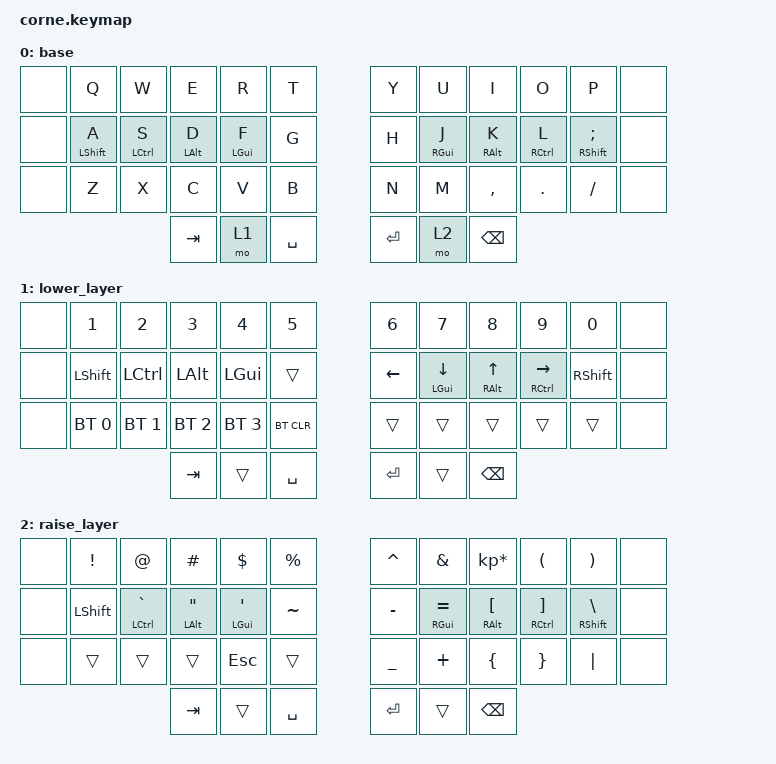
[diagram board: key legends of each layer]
/*
 * Copyright (c) 2020 The ZMK Contributors
 *
 * SPDX-License-Identifier: MIT
 */

#include <behaviors.dtsi>
#include <dt-bindings/zmk/bt.h>
#include <dt-bindings/zmk/keys.h>

/ {
    behaviors {
        LEFT_HRM: LEFT_HRM {
            compatible = "zmk,behavior-hold-tap";
            label = "LEFT_HRM";
            bindings = <&kp>, <&kp>;

            #binding-cells = <2>;
            tapping-term-ms = <280>;
            quick-tap-ms = <175>;
            require-prior-idle-ms = <150>;
            flavor = "balanced";
            hold-trigger-on-release;
            hold-trigger-key-positions = <13 14 15 16>;
        };

        RIGHT_HRM: RIGHT_HRM {
            compatible = "zmk,behavior-hold-tap";
            label = "RIGHT_HRM";
            bindings = <&kp>, <&kp>;

            #binding-cells = <2>;
            tapping-term-ms = <280>;
            quick-tap-ms = <175>;
            require-prior-idle-ms = <150>;
            flavor = "balanced";
            hold-trigger-key-positions = <19 20 21 22>;
            hold-trigger-on-release;
        };
    };

    keymap {
        compatible = "zmk,keymap";

        base {
            // -----------------------------------------------------------------------------------------
            // |  TAB |  Q  |  W  |  E  |  R  |  T  |   |  Y  |  U   |  I  |  O  |  P  | BKSP |
            // | CTRL |  A  |  S  |  D  |  F  |  G  |   |  H  |  J   |  K  |  L  |  ;  |  '   |
            // | SHFT |  Z  |  X  |  C  |  V  |  B  |   |  N  |  M   |  ,  |  .  |  /  | ESC  |
            //                    | GUI | LWR | SPC |   | ENT | RSE  | ALT |

            bindings = <
&none  &kp Q                   &kp W                     &kp E                 &kp R                 &kp T        &kp Y    &kp U                   &kp I                   &kp O                       &kp P                             &none
&none  &LEFT_HRM LEFT_SHIFT A  &LEFT_HRM LEFT_CONTROL S  &LEFT_HRM LEFT_ALT D  &LEFT_HRM LEFT_GUI F  &kp G        &kp H    &RIGHT_HRM RIGHT_GUI J  &RIGHT_HRM RIGHT_ALT K  &RIGHT_HRM RIGHT_CONTROL L  &RIGHT_HRM RIGHT_SHIFT SEMICOLON  &none
&none  &kp Z                   &kp X                     &kp C                 &kp V                 &kp B        &kp N    &kp M                   &kp COMMA               &kp DOT                     &kp FSLH                          &none
                                                         &kp TAB               &mo 1                 &kp SPACE    &kp RET  &mo 2                   &kp BACKSPACE
            >;
        };

        lower_layer {
            // -----------------------------------------------------------------------------------------
            // |  TAB |  1  |  2  |  3  |  4  |  5  |   |  6  |  7  |  8  |  9  |  0  | BKSP |
            // | BTCLR| BT1 | BT2 | BT3 | BT4 | BT5 |   | LFT | DWN |  UP | RGT |     |      |
            // | SHFT |     |     |     |     |     |   |     |     |     |     |     |      |
            //                    | GUI |     | SPC |   | ENT |     | ALT |

            bindings = <
&none  &kp N1          &kp N2            &kp N3        &kp N4        &kp N5        &kp N6    &kp N7                   &kp N8                  &kp N9                         &kp N0           &none
&none  &kp LEFT_SHIFT  &kp LEFT_CONTROL  &kp LEFT_ALT  &kp LEFT_GUI  &trans        &kp LEFT  &mt LEFT_GUI DOWN_ARROW  &mt RIGHT_ALT UP_ARROW  &mt RIGHT_CONTROL RIGHT_ARROW  &kp RIGHT_SHIFT  &none
&none  &bt BT_SEL 0    &bt BT_SEL 1      &bt BT_SEL 2  &bt BT_SEL 3  &bt BT_CLR    &trans    &trans                   &trans                  &trans                         &trans           &none
                                         &kp TAB       &trans        &kp SPACE     &kp RET   &trans                   &kp BACKSPACE
            >;
        };

        raise_layer {
            // -----------------------------------------------------------------------------------------
            // |  TAB |  !  |  @  |  #  |  $  |  %  |   |  ^  |  &  |  *  |  (  |  )  | BKSP |
            // | CTRL |     |     |     |     |     |   |  -  |  =  |  [  |  ]  |  \  |  `   |
            // | SHFT |     |     |     |     |     |   |  _  |  +  |  {  |  }  | "|" |  ~   |
            //                    | GUI |     | SPC |   | ENT |     | ALT |

            bindings = <
&none  &kp EXCL        &kp AT                  &kp HASH                    &kp DLLR          &kp PRCNT    &kp CARET  &kp AMPS             &kp KP_MULTIPLY             &kp LPAR                         &kp RPAR                   &none
&none  &kp LEFT_SHIFT  &mt LEFT_CONTROL GRAVE  &mt LEFT_ALT DOUBLE_QUOTES  &mt LEFT_GUI SQT  &kp TILDE    &kp MINUS  &mt RIGHT_GUI EQUAL  &mt RIGHT_ALT LEFT_BRACKET  &mt RIGHT_CONTROL RIGHT_BRACKET  &mt RIGHT_SHIFT BACKSLASH  &none
&none  &trans          &trans                  &trans                      &kp ESC           &trans       &kp UNDER  &kp PLUS             &kp LBRC                    &kp RBRC                         &kp PIPE                   &none
                                               &kp TAB                     &trans            &kp SPACE    &kp RET    &trans               &kp BACKSPACE
            >;
        };
    };
};
